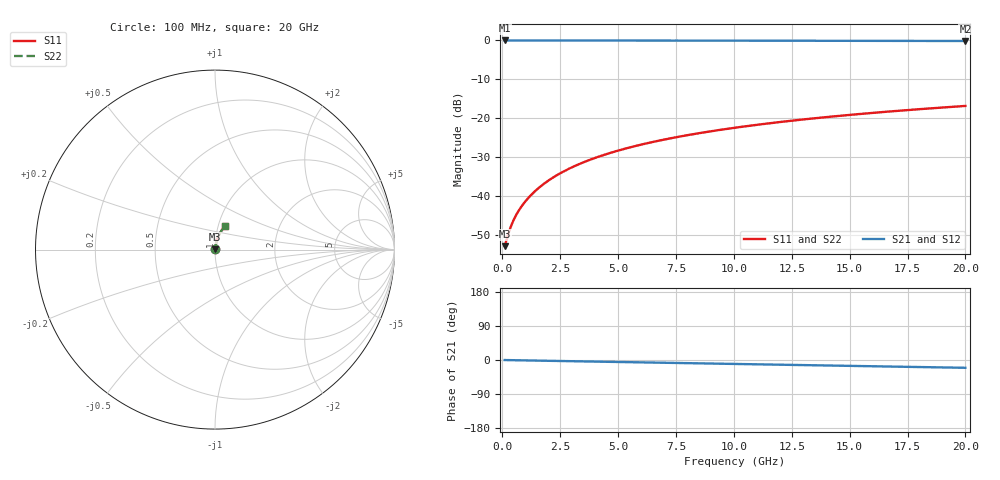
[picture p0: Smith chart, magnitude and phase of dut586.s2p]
! Touchstone file exported from HFSS 2026.1.0
!  File:  C:/ffzhzh/LocalFiles/Ansys_Project_Files/temp_train_BSMRDL_586_1783015779_51716.aedt
!  Generated:  02:11:02 AM Jul  3, 2026
!  Design:  BSMRDL
!  Project:  temp_train_BSMRDL_586_1783015779_51716
! Variables:
!  h_bsmrdl = 2.54um
!  h_ox = 20um
!  h_rdl = 5um
!  h_sub = 80um
!  h_tmrdl = 5um
!  h_tsv = 80um
!  h_via = 3um
!  l_bsmrdl = 308.65um
!  l_sub = 708.65um
!  l_tmrdl = 200um
!  m_sub = 200um
!  pitch = 37.47um
!  r_tsv = 6um
!  s_tmrdl = 10um
!  w_bsmrdl = 24.69um
!  w_sub = 500um
!  w_tmrdl = 12um
!  x_tsv_center1 = 206um
!  x_tsv_center2 = 539.34um
!  x_tsv_center3 = 751.34um
!  x_tsv_center4 = 1084.68um
!  x_tsv_center5 = 1296.68um
!  x_tsv_center6 = 1630.02um
# GHz S MA R 50.000000
! Terminal data exported
! Port[1] = BSM_RDL1_1_T1
! Port[2] = BSM_RDL1_1_T2
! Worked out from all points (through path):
!   200 points, 100 MHz to 20 GHz, reference 50 ohm
!   highest |S21| = -0.02 dB at 100 MHz (marker M1); lowest = -0.2 dB at 20 GHz (marker M2)
!   group delay of S21, straight-line fit = 2.86 ps
!   lowest |S11| = -52.8 dB at 100 MHz (marker M3), VSWR 1.00, Z = 50.2 + j0.0951 ohm
!   |S11| at or under -10 dB: start of sweep to end of sweep
!   |S22| runs from -52.8 to -16.8 dB; largest |S21 - S12| = 4.6e-15
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0.1  0.002289 24.4  0.9979 -0.1  0.9979 -0.1  0.002289 24.4
! Gamma 0 0 0 0
! Port Impedance 50 0 50 0
0.3  0.00357 49.9  0.9977 -0.3  0.9977 -0.3  0.00357 49.9
0.4  0.004304 55.6  0.9976 -0.4  0.9976 -0.4  0.004304 55.6
0.5  0.005036 59.5  0.9975 -0.6  0.9975 -0.6  0.005036 59.5
0.6  0.005759 62.4  0.9974 -0.7  0.9974 -0.7  0.005759 62.4
0.8  0.007191 66.6  0.9972 -0.9  0.9972 -0.9  0.007191 66.6
1  0.008622 69.6  0.9971 -1.1  0.9971 -1.1  0.008622 69.6
1.2  0.01006 71.8  0.9971 -1.3  0.9971 -1.3  0.01006 71.8
1.4  0.01152 73.5  0.997 -1.5  0.997 -1.5  0.01152 73.5
1.7  0.01373 75.4  0.9969 -1.8  0.9969 -1.8  0.01373 75.4
2.2  0.01745 77.4  0.9968 -2.3  0.9968 -2.3  0.01745 77.4
2.8  0.02195 78.6  0.9966 -3.0  0.9966 -3.0  0.02195 78.6
3.5  0.02723 79.3  0.9963 -3.7  0.9963 -3.7  0.02723 79.3
4.2  0.0325 79.5  0.996 -4.4  0.996 -4.4  0.0325 79.5
5  0.03852 79.3  0.9956 -5.3  0.9956 -5.3  0.03852 79.3
5.9  0.04526 78.9  0.9951 -6.2  0.9951 -6.2  0.04526 78.9
6.8  0.05196 78.4  0.9946 -7.1  0.9946 -7.1  0.05196 78.4
8.3  0.06302 77.3  0.9935 -8.7  0.9935 -8.7  0.06302 77.3
10.1  0.07611 75.7  0.9921 -10.5  0.9921 -10.5  0.07611 75.7
13.4  0.09953 72.7  0.9891 -13.9  0.9891 -13.9  0.09953 72.7
16.7  0.1222 69.6  0.9858 -17.3  0.9858 -17.3  0.1222 69.6
20  0.1441 66.5  0.9821 -20.6  0.9821 -20.6  0.1441 66.5
